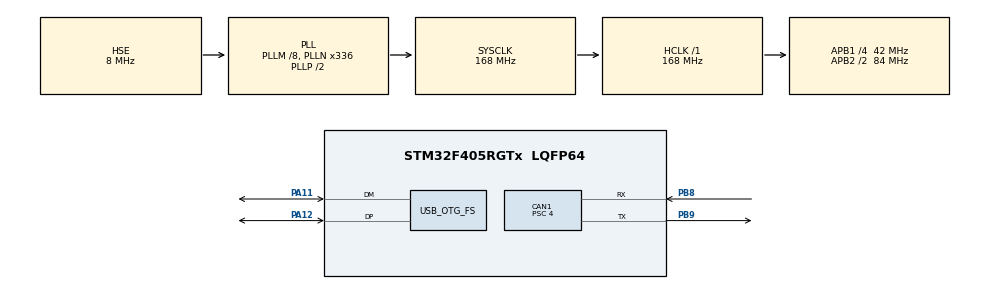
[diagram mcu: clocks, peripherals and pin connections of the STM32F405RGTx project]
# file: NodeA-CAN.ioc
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CAN1.BS1=CAN_BS1_16TQ
CAN1.BS2=CAN_BS2_4TQ
CAN1.CalculateBaudRate=500000
CAN1.CalculateTimeBit=2000
CAN1.CalculateTimeQuantum=95.23809523809524
CAN1.NART=ENABLE
CAN1.Prescaler=4
Mcu.Family=STM32F4
Mcu.Name=STM32F405RGTx
Mcu.Package=LQFP64
NVIC.CAN1_RX0_IRQn=true\:0\:0\:false\:false\:true\:true\:true\:true
NVIC.OTG_FS_IRQn=true\:0\:0\:false\:false\:true\:false\:true\:true
NVIC.PriorityGroup=NVIC_PRIORITYGROUP_4
PA11.Mode=Device_Only
PA11.Signal=USB_OTG_FS_DM
PA12.Mode=Device_Only
PA12.Signal=USB_OTG_FS_DP
PB8.Mode=CAN_Activate
PB8.Signal=CAN1_RX
PB9.Mode=CAN_Activate
PB9.Signal=CAN1_TX
PH0-OSC_IN.Mode=HSE-External-Oscillator
PH0-OSC_IN.Signal=RCC_OSC_IN
PH1-OSC_OUT.Mode=HSE-External-Oscillator
PH1-OSC_OUT.Signal=RCC_OSC_OUT
ProjectManager.HeapSize=0x200
ProjectManager.StackSize=0x400
ProjectManager.TargetToolchain=Makefile
RCC.48MHZClocksFreq_Value=48000000
RCC.AHBFreq_Value=168000000
RCC.APB1CLKDivider=RCC_HCLK_DIV4
RCC.APB1Freq_Value=42000000
RCC.APB1TimFreq_Value=84000000
RCC.APB2CLKDivider=RCC_HCLK_DIV2
RCC.APB2Freq_Value=84000000
RCC.APB2TimFreq_Value=168000000
RCC.CortexFreq_Value=168000000
RCC.EnbaleCSS=true
RCC.HCLKFreq_Value=168000000
RCC.HSE_VALUE=8000000
RCC.HSI_VALUE=16000000
RCC.LSE_VALUE=32768
RCC.PLLM=8
RCC.PLLN=336
RCC.PLLQ=7
RCC.SYSCLKFreq_VALUE=168000000
RCC.SYSCLKSource=RCC_SYSCLKSOURCE_PLLCLK
RCC.VCOOutputFreq_Value=336000000
USB_DEVICE.CLASS_NAME_FS=CDC
USB_DEVICE.CONFIGURATION_STRING_CDC_FS=CDC (Virtual COM) Configuration
USB_DEVICE.INTERFACE_STRING_CDC_FS=USB-CAN Bridge Interface
USB_DEVICE.MANUFACTURER_STRING-CDC_FS=Verneri Rantanen
USB_DEVICE.PRODUCT_STRING_CDC_FS=Custom USB-CAN Adapter
USB_DEVICE.VirtualMode-CDC_FS=Cdc
USB_DEVICE.VirtualModeFS=Cdc_FS
USB_OTG_FS.VirtualMode=Device_Only
VP_USB_DEVICE_VS_USB_DEVICE_CDC_FS.Mode=CDC_FS
board=custom

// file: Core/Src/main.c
/* USER CODE BEGIN Header */
/**
  ******************************************************************************
  * @file           : main.c
  * @brief          : Main program body
  ******************************************************************************
  * @attention
  *
  * Copyright (c) 2026 STMicroelectronics.
  * All rights reserved.
  *
  * This software is licensed under terms that can be found in the LICENSE file
  * in the root directory of this software component.
  * If no LICENSE file comes with this software, it is provided AS-IS.
  *
  ******************************************************************************
  */
/* USER CODE END Header */
#include "main.h"
#include "usb_device.h"
#include "usbd_cdc_if.h"

CAN_HandleTypeDef hcan1;

/* USER CODE BEGIN PV */
CAN_TxHeaderTypeDef txHeader;
uint32_t txMailbox;

typedef struct {
    uint16_t id;
    uint8_t dlc;
    uint8_t data[8];
} can_frame_t;

#define QUEUE_SIZE 16

volatile uint8_t head = 0;
volatile uint8_t tail = 0;
can_frame_t queue[QUEUE_SIZE];
volatile uint32_t overflow_count = 0;
static uint8_t usbBuf[13];
/* USER CODE END PV */

void SystemClock_Config(void);
static void MX_GPIO_Init(void);
static void MX_CAN1_Init(void);

int main(void)
{

  /* MCU Configuration--------------------------------------------------------*/

  /* Reset of all peripherals, Initializes the Flash interface and the Systick. */
  HAL_Init();

  /* Configure the system clock */
  SystemClock_Config();

  /* Initialize all configured peripherals */
  MX_GPIO_Init();
  MX_CAN1_Init();
  MX_USB_DEVICE_Init();
  /* USER CODE BEGIN 2 */
  uint8_t bootMsg[] = {0xAA, 0xDE, 0xAD, 0xBE, 0xEF};
  CDC_Transmit_FS(bootMsg, sizeof(bootMsg));
  HAL_Delay(100);

  CAN_FilterTypeDef filter;

  filter.FilterActivation = ENABLE;
  filter.FilterBank = 0;
  filter.FilterFIFOAssignment = CAN_FILTER_FIFO0;
  filter.FilterMode = CAN_FILTERMODE_IDMASK;
  filter.FilterScale = CAN_FILTERSCALE_32BIT;

  // Accept all IDs
  filter.FilterIdHigh     = 0x0000;
  filter.FilterIdLow      = 0x0000;
  filter.FilterMaskIdHigh = 0x0000;
  filter.FilterMaskIdLow  = 0x0000;

  filter.SlaveStartFilterBank = 14;

  HAL_CAN_ConfigFilter(&hcan1, &filter);
  // Start CAN controller
  if (HAL_CAN_Start(&hcan1) != HAL_OK)
  {
      Error_Handler();
  }
  HAL_CAN_ActivateNotification(&hcan1, CAN_IT_RX_FIFO0_MSG_PENDING);
  // Prepare reusable CAN header template
  txHeader.ExtId = 0x00;
  txHeader.IDE   = CAN_ID_STD;      // Standard 11-bit ID
  txHeader.RTR   = CAN_RTR_DATA;
  txHeader.DLC   = 1;               // 1 data byte
  txHeader.TransmitGlobalTime = DISABLE;
  /* USER CODE END 2 */

  /* Infinite loop */
  /* USER CODE BEGIN WHILE */
  while (1)
  {
      if (tail != head)
      {
          can_frame_t *f = &queue[tail];

          usbBuf[0] = 0xAA;
          usbBuf[1] = f->id & 0xFF;
          usbBuf[2] = (f->id >> 8) & 0xFF;
          usbBuf[3] = f->dlc;

          memcpy(&usbBuf[4], f->data, f->dlc);

          if (CDC_Transmit_FS(usbBuf, f->dlc + 4) == USBD_OK)
          {
              tail = (tail + 1) & (QUEUE_SIZE - 1);
          }
      }

      __WFI();   // Sleep until next interrupt
    /* USER CODE END WHILE */

  }
}

void SystemClock_Config(void)
{
  RCC_OscInitTypeDef RCC_OscInitStruct = {0};
  RCC_ClkInitTypeDef RCC_ClkInitStruct = {0};

  /** Configure the main internal regulator output voltage
  */
  __HAL_RCC_PWR_CLK_ENABLE();
  __HAL_PWR_VOLTAGESCALING_CONFIG(PWR_REGULATOR_VOLTAGE_SCALE1);

  /** Initializes the RCC Oscillators according to the specified parameters
  * in the RCC_OscInitTypeDef structure.
  */
  RCC_OscInitStruct.OscillatorType = RCC_OSCILLATORTYPE_HSE;
  RCC_OscInitStruct.HSEState = RCC_HSE_ON;
  RCC_OscInitStruct.PLL.PLLState = RCC_PLL_ON;
  RCC_OscInitStruct.PLL.PLLSource = RCC_PLLSOURCE_HSE;
  RCC_OscInitStruct.PLL.PLLM = 8;
  RCC_OscInitStruct.PLL.PLLN = 336;
  RCC_OscInitStruct.PLL.PLLP = RCC_PLLP_DIV2;
  RCC_OscInitStruct.PLL.PLLQ = 7;
  if (HAL_RCC_OscConfig(&RCC_OscInitStruct) != HAL_OK)
  {
    Error_Handler();
  }

  /** Initializes the CPU, AHB and APB buses clocks
  */
  RCC_ClkInitStruct.ClockType = RCC_CLOCKTYPE_HCLK|RCC_CLOCKTYPE_SYSCLK
                              |RCC_CLOCKTYPE_PCLK1|RCC_CLOCKTYPE_PCLK2;
  RCC_ClkInitStruct.SYSCLKSource = RCC_SYSCLKSOURCE_PLLCLK;
  RCC_ClkInitStruct.AHBCLKDivider = RCC_SYSCLK_DIV1;
  RCC_ClkInitStruct.APB1CLKDivider = RCC_HCLK_DIV4;
  RCC_ClkInitStruct.APB2CLKDivider = RCC_HCLK_DIV2;

  if (HAL_RCC_ClockConfig(&RCC_ClkInitStruct, FLASH_LATENCY_5) != HAL_OK)
  {
    Error_Handler();
  }

  /** Enables the Clock Security System
  */
  HAL_RCC_EnableCSS();
}

static void MX_CAN1_Init(void)
{

  hcan1.Instance = CAN1;
  hcan1.Init.Prescaler = 4;
  hcan1.Init.Mode = CAN_MODE_NORMAL;
  hcan1.Init.SyncJumpWidth = CAN_SJW_1TQ;
  hcan1.Init.TimeSeg1 = CAN_BS1_16TQ;
  hcan1.Init.TimeSeg2 = CAN_BS2_4TQ;
  hcan1.Init.TimeTriggeredMode = DISABLE;
  hcan1.Init.AutoBusOff = DISABLE;
  hcan1.Init.AutoWakeUp = DISABLE;
  hcan1.Init.AutoRetransmission = ENABLE;
  hcan1.Init.ReceiveFifoLocked = DISABLE;
  hcan1.Init.TransmitFifoPriority = DISABLE;
  if (HAL_CAN_Init(&hcan1) != HAL_OK)
  {
    Error_Handler();
  }

}

static void MX_GPIO_Init(void)
{

  /* GPIO Ports Clock Enable */
  __HAL_RCC_GPIOH_CLK_ENABLE();
  __HAL_RCC_GPIOA_CLK_ENABLE();
  __HAL_RCC_GPIOB_CLK_ENABLE();

}

/* USER CODE BEGIN 4 */
void HAL_CAN_RxFifo0MsgPendingCallback(CAN_HandleTypeDef *hcan)
{
    CAN_RxHeaderTypeDef rxHeader;
    uint8_t data[8];

    // Drain entire hardware FIFO
    while (HAL_CAN_GetRxFifoFillLevel(hcan, CAN_RX_FIFO0) > 0)
    {
        HAL_CAN_GetRxMessage(hcan, CAN_RX_FIFO0, &rxHeader, data);

        uint8_t next = (head + 1) & (QUEUE_SIZE - 1);

        if (next == tail)
        {
            overflow_count++;   // software queue full
            continue;           // IMPORTANT: still drain hardware FIFO
        }

        queue[head].id = rxHeader.StdId;
        queue[head].dlc = rxHeader.DLC;
        memcpy(queue[head].data, data, rxHeader.DLC);

        head = next;
    }
}
/* USER CODE END 4 */

void Error_Handler(void)
{
  __disable_irq();
  while (1)
  {
  }
}
